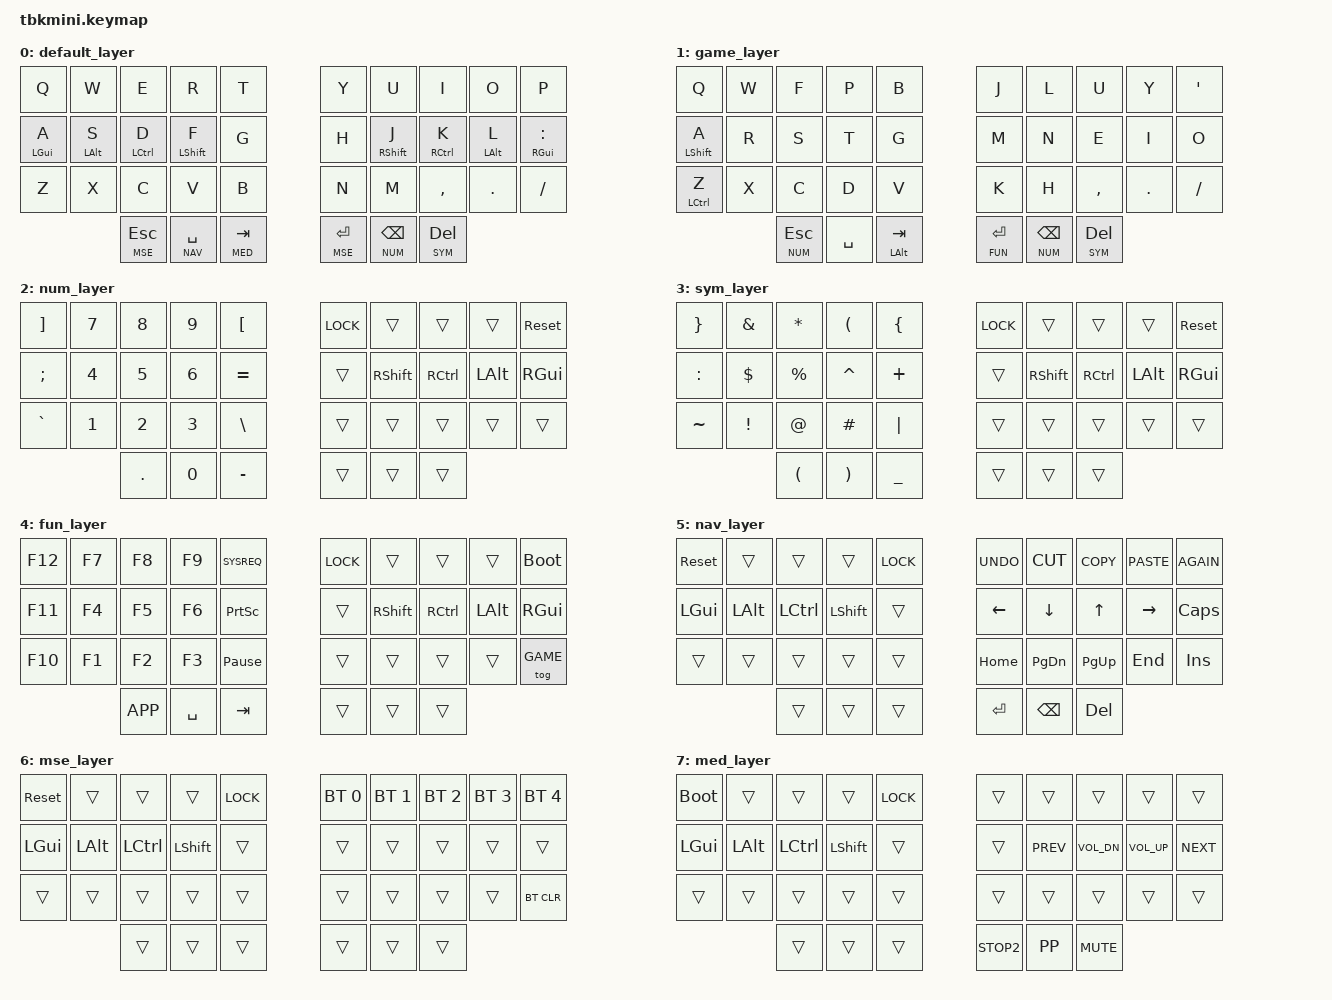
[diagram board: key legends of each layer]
#include <behaviors.dtsi>
#include <dt-bindings/zmk/keys.h>
#include <dt-bindings/zmk/bt.h>

#define DEFAULT 0
#define GAME 1
#define NUM 2
#define SYM 3
#define FUN 4
#define NAV 5
#define MSE 6
#define MED 7

&lt {
  tapping-term-ms = <300>;
  quick_tap_ms = <200>;
  flavor = "hold-preferred";
};

/ {
  chosen {
    zmk,matrix_transform = &skeletyl_transform;
  };

  behaviors {
    hm: homerow_mods {
      compatible = "zmk,behavior-hold-tap";
      label = "HOMEROW_MODS";
      #binding-cells = <2>;
      tapping-term-ms = <150>;
      quick_tap_ms = <150>;
      flavor = "tap-preferred";
      bindings = <&kp>, <&kp>;
    };
    lm: left_hand_positional_hold_tap {
      compatible = "zmk,behavior-hold-tap";
      label = "LEFT_HOMEROW_MODS";
      #binding-cells = <2>;
      flavor = "tap-unless-interrupted";
      tapping-term-ms = <200>;
      quick-tap-ms = <200>;
      bindings = <&kp>, <&kp>;
      hold-trigger-key-positions = <5 6 7 8 9 15 16 17 18 19 25 26 27 28 29>;
    };
    rm: right_hand_positional_hold_tap {
      compatible = "zmk,behavior-hold-tap";
      label = "RIGHT_HOMEROW_MODS";
      #binding-cells = <2>;
      flavor = "tap-unless-interrupted";
      tapping-term-ms = <200>;
      quick-tap-ms = <200>;
      bindings = <&kp>, <&kp>;
      hold-trigger-key-positions = <0 1 2 3 4 10 11 12 13 14 20 21 22 23 24>;
    };
  };

  keymap {
        compatible = "zmk,keymap";

        default_layer {
            bindings = <
	&kp Q      &kp W        &kp E          &kp R       &kp T          &kp Y  &kp U        &kp I        &kp O       &kp P
	&hm LGUI A &hm LALT S   &hm LCTRL D    &hm LSHFT F &kp G          &kp H  &hm RSHFT J  &hm RCTRL K  &hm LALT L  &hm RGUI COLON
	&kp Z      &kp X        &kp C          &kp V       &kp B          &kp N  &kp M        &kp COMMA    &kp DOT     &kp FSLH
	           &lt MSE ESC  &lt NAV SPACE  &lt MED TAB                       &lt MSE RET  &lt NUM BSPC &lt SYM DEL
            >;
        };
        game_layer {
            bindings = <
	&kp Q        &kp W      &kp F       &kp P       &kp B          &kp J &kp L       &kp U       &kp Y      &kp SQT
	&mt LSHIFT A &kp R      &kp S       &kp T       &kp G          &kp M &kp N       &kp E       &kp I      &kp O
	&mt LCTRL Z  &kp X      &kp C       &kp D       &kp V          &kp K &kp H       &kp COMMA   &kp DOT    &kp FSLH
	           &lt NUM ESC  &kp SPACE   &hm LALT TAB        &lt FUN RET  &lt NUM BSPC  &lt SYM DEL
            >;
        };
        num_layer {
            bindings = <
	&kp RBKT   &kp N7     &kp N8      &kp N9      &kp LBKT       &kp K_LOCK &trans    &trans    &trans   &sys_reset
	&kp SEMI   &kp N4     &kp N5      &kp N6      &kp EQUAL      &trans     &kp RSHFT &kp RCTRL &kp LALT &kp RGUI
	&kp GRAVE  &kp N1     &kp N2      &kp N3      &kp BSLH       &trans     &trans    &trans    &trans   &trans
	           &kp DOT       &kp N0          &kp MINUS           &trans &trans &trans
            >;
        };
        sym_layer {
            bindings = <
	&kp RBRC  &kp AMPS &kp STAR  &kp LPAR  &kp LBRC        &kp K_LOCK &trans  &trans     &trans   &sys_reset
	&kp COLON &kp DLLR &kp PRCNT &kp CARET &kp PLUS        &trans &kp RSHFT  &kp RCTRL  &kp LALT  &kp RGUI
	&kp TILDE &kp EXCL &kp AT    &kp HASH  &kp PIPE        &trans &trans  &trans &trans &trans
	                  &kp LPAR  &kp RPAR   &kp UNDER              &trans &trans &trans
            >;
        };
        fun_layer {
            bindings = <
	&kp F12 &kp F7 &kp F8 &kp F9 &kp SYSREQ        &kp K_LOCK &trans  &trans     &trans   &bootloader
	&kp F11 &kp F4 &kp F5 &kp F6 &kp PRINTSCREEN   &trans &kp RSHFT  &kp RCTRL  &kp LALT  &kp RGUI
	&kp F10 &kp F1 &kp F2 &kp F3 &kp PAUSE_BREAK   &trans &trans  &trans &trans &tog GAME
	                  &kp K_APP   &kp SPACE   &kp TAB     &trans &trans &trans
            >;
        };
        nav_layer {
            bindings = <
	&sys_reset   &trans   &trans    &trans     &kp K_LOCK   &kp K_UNDO &kp K_CUT &kp K_COPY &kp K_PASTE &kp K_AGAIN
	&kp LGUI &kp LALT &kp LCTRL &kp LSHFT &trans       &kp LEFT   &kp DOWN  &kp UP     &kp RIGHT   &kp CAPS
	&trans   &trans   &trans    &trans     &trans       &kp HOME   &kp PG_DN &kp PG_UP  &kp END     &kp INS
	                  &trans   &trans   &trans                 &kp RET &kp BSPC &kp DEL
            >;
        };
        mse_layer {
            bindings = <
	&sys_reset   &trans   &trans    &trans     &kp K_LOCK   &bt BT_SEL 0 &bt BT_SEL 1 &bt BT_SEL 2 &bt BT_SEL 3 &bt BT_SEL 4
	&kp LGUI &kp LALT &kp LCTRL &kp LSHFT &trans       &trans &trans &trans &trans &trans
	&trans   &trans   &trans    &trans     &trans       &trans &trans &trans &trans &bt BT_CLR
	                  &trans   &trans   &trans                 &trans &trans &trans
            >;
        };
        med_layer {
            bindings = <
	&bootloader   &trans   &trans    &trans     &kp K_LOCK   &trans &trans     &trans       &trans       &trans
	&kp LGUI &kp LALT &kp LCTRL &kp LSHFT &trans       &trans &kp K_PREV &kp K_VOL_DN &kp K_VOL_UP &kp K_NEXT
	&trans   &trans   &trans    &trans     &trans       &trans &trans     &trans       &trans       &trans
	                  &trans   &trans   &trans                 &kp K_STOP2 &kp K_PP &kp K_MUTE
            >;
        };
    };
};
